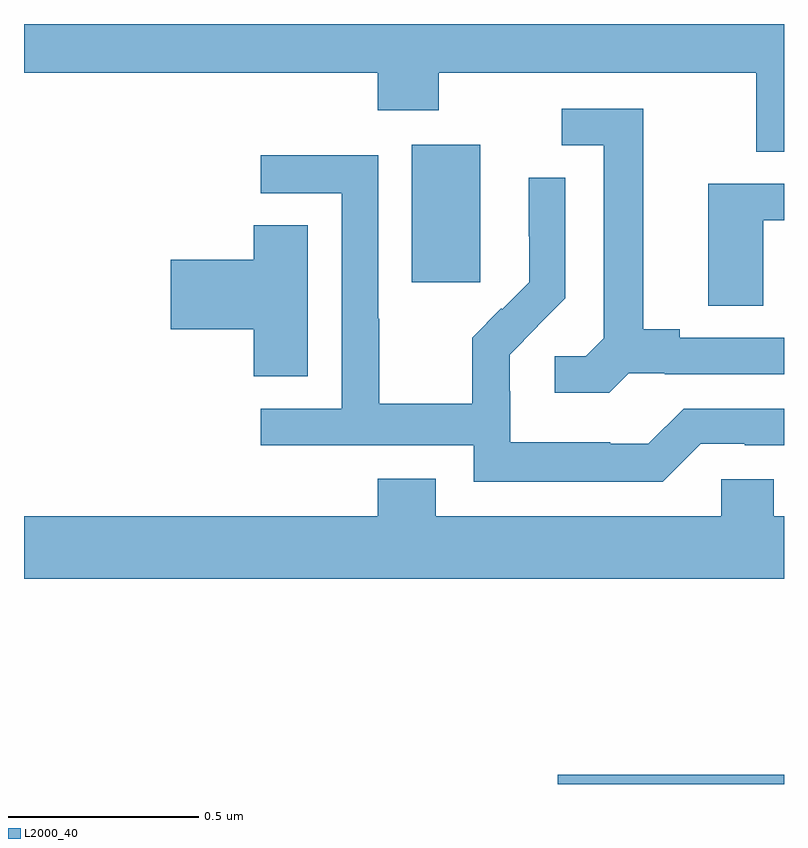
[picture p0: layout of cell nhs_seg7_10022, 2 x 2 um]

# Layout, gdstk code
import gdstk
lib = gdstk.Library(unit=1e-6, precision=1e-09)
def R(c, l, rs):  # rectangles x0, y0, x1, y1
    for r in rs: c.add(gdstk.rectangle(r[:2], r[2:], *l))
def P(c, l, *ps):  # polygons
    for p in ps: c.add(gdstk.Polygon(p, *l))
L2000_40 = (2000, 40)

nhs_seg7_10022 = lib.new_cell('nhs_seg7_10022')
R(nhs_seg7_10022, L2000_40, [(245.405,1076,246,1076.024), (245.021,1077.321,245.2,1077.682)])
P(nhs_seg7_10022, L2000_40, [(246,1078),(244,1078),(244,1077.872),(244.931,1077.872),(244.931,1077.773),(245.091,1077.773),(245.091,1077.872),(245.927,1077.872),(245.927,1077.664),(246,1077.664)],
  [(245.592,1077.081),(245.686,1077.081),(245.686,1077.078),(246,1077.078),(246,1077.174),(245.725,1077.174),(245.725,1077.197),(245.629,1077.197),(245.629,1077.777),(245.415,1077.777),(245.415,1077.681),(245.525,1077.681),(245.525,1077.173),(245.478,1077.126),(245.397,1077.126),(245.397,1077.029),(245.54,1077.029)],
  [(245.781,1076.895),(245.897,1076.895),(245.897,1076.892),(246,1076.892),(246,1076.988),(245.736,1076.988),(245.643,1076.895),(245.543,1076.895),(245.543,1076.899),(245.28,1076.899),(245.28,1077.033),(245.278,1077.033),(245.278,1077.13),(245.352,1077.204),(245.351,1077.205),(245.424,1077.278),(245.424,1077.596),(245.328,1077.596),(245.328,1077.442),(245.33,1077.442),(245.33,1077.32),(245.259,1077.249),(245.256,1077.252),(245.179,1077.175),(245.179,1077.001),(244.935,1077.001),(244.935,1077.224),(244.932,1077.224),(244.932,1077.654),(244.623,1077.654),(244.623,1077.555),(244.836,1077.555),(244.836,1076.988),(244.623,1076.988),(244.623,1076.892),(245.184,1076.892),(245.184,1076.795),(245.681,1076.795)],
  [(245.946,1077.483),(246,1077.483),(246,1077.579),(245.801,1077.579),(245.801,1077.259),(245.946,1077.259)],
  [(244.747,1077.47),(244.604,1077.47),(244.604,1077.38),(244.386,1077.38),(244.386,1077.197),(244.604,1077.197),(244.604,1077.073),(244.747,1077.073)],
  [(246,1076.704),(245.973,1076.704),(245.973,1076.802),(245.835,1076.802),(245.835,1076.704),(245.083,1076.704),(245.083,1076.803),(244.931,1076.803),(244.931,1076.704),(244,1076.704),(244,1076.54),(246,1076.54)])

lib.write_gds('nhs_seg7_10022.gds')
